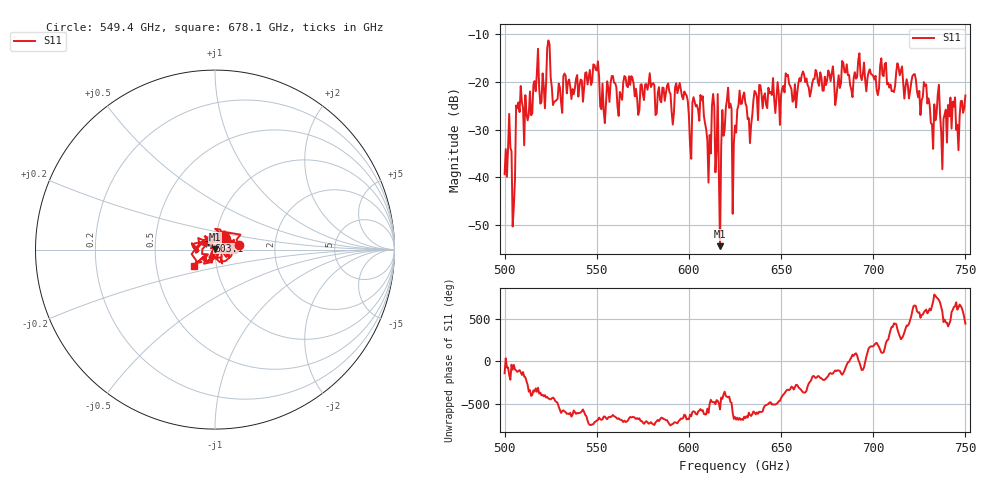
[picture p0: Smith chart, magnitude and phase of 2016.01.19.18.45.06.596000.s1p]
!Created with skrf (http://scikit-rf.org).
# GHz S RI R 50.0
!freq ReS11 ImS11
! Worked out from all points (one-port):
!   401 points, 500 GHz to 750 GHz, reference 50 ohm
!   lowest |S11| = -54.4 dB at 616.9 GHz (marker M1), VSWR 1.00, Z = 49.8 + j0.0759 ohm
!   |S11| at or under -10 dB: start of sweep to end of sweep
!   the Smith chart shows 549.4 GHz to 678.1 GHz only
!   S11 on the Smith chart (normalised r, x): 549.4 GHz: 1.30, +0.07; 603.1 GHz: 0.92, +0.09; 678.1 GHz: 0.78, -0.14
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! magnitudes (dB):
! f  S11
! 500 GHz  -39.3
! 502.5 GHz  -26.7
! 504.4 GHz  -50.3
! 507.5 GHz  -24.3
! 511.9 GHz  -26.6
! 516.9 GHz  -21.9
! 520.6 GHz  -18.2
! 523.8 GHz  -11.3
! 526.9 GHz  -24.1
! 531.2 GHz  -26.5
! 549.4 GHz  -17.4
! 553.1 GHz  -20.3
! 558.8 GHz  -18.7
! 562.5 GHz  -22.1
! 593.8 GHz  -22.3
! 600.6 GHz  -33.3
! 603.1 GHz  -24.1
! 616.9 GHz  -54.4
! 621.2 GHz  -21.2
! 625 GHz  -29.1
! 628.8 GHz  -24.5
! 633.1 GHz  -32.8
! 656.2 GHz  -24.1
! 678.1 GHz  -16.7
! 687.5 GHz  -20.7
! 718.8 GHz  -20.6
! 738.8 GHz  -26.8
! 750 GHz  -22.8
